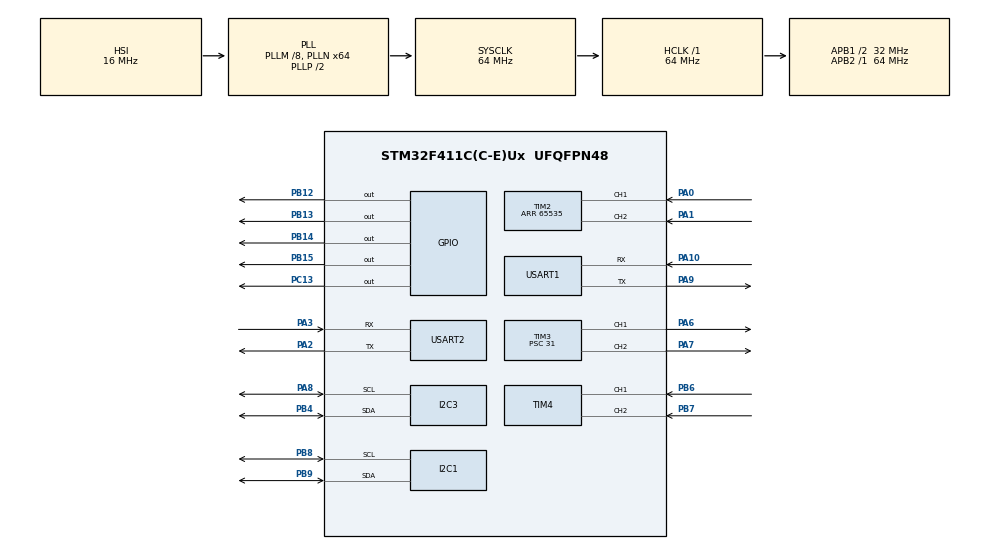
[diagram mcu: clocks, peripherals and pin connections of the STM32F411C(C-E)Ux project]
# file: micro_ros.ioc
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Dma.Request0=USART2_RX
Dma.Request1=USART2_TX
Dma.USART2_RX.0.Direction=DMA_PERIPH_TO_MEMORY
Dma.USART2_RX.0.FIFOMode=DMA_FIFOMODE_DISABLE
Dma.USART2_RX.0.Instance=DMA1_Stream5
Dma.USART2_RX.0.MemDataAlignment=DMA_MDATAALIGN_BYTE
Dma.USART2_RX.0.MemInc=DMA_MINC_ENABLE
Dma.USART2_RX.0.Mode=DMA_CIRCULAR
Dma.USART2_RX.0.PeriphDataAlignment=DMA_PDATAALIGN_BYTE
Dma.USART2_RX.0.PeriphInc=DMA_PINC_DISABLE
Dma.USART2_RX.0.Priority=DMA_PRIORITY_VERY_HIGH
Dma.USART2_TX.1.Direction=DMA_MEMORY_TO_PERIPH
Dma.USART2_TX.1.FIFOMode=DMA_FIFOMODE_DISABLE
Dma.USART2_TX.1.Instance=DMA1_Stream6
Dma.USART2_TX.1.MemDataAlignment=DMA_MDATAALIGN_BYTE
Dma.USART2_TX.1.MemInc=DMA_MINC_ENABLE
Dma.USART2_TX.1.Mode=DMA_NORMAL
Dma.USART2_TX.1.PeriphDataAlignment=DMA_PDATAALIGN_BYTE
Dma.USART2_TX.1.PeriphInc=DMA_PINC_DISABLE
Dma.USART2_TX.1.Priority=DMA_PRIORITY_VERY_HIGH
FREERTOS.Tasks01=myTask1,32,3000,Task_pub_sub,Default,NULL,Dynamic,NULL,NULL;myTask02,26,128,Task_IMU,Default,NULL,Dynamic,NULL,NULL;myTask03,26,128,Task_control,Default,NULL,Dynamic,NULL,NULL
FREERTOS.configUSE_NEWLIB_REENTRANT=1
Mcu.Family=STM32F4
Mcu.Name=STM32F411C(C-E)Ux
Mcu.Package=UFQFPN48
NVIC.DMA1_Stream5_IRQn=true\:5\:0\:false\:false\:true\:true\:false\:true\:true
NVIC.DMA1_Stream6_IRQn=true\:5\:0\:false\:false\:true\:true\:false\:true\:true
NVIC.PriorityGroup=NVIC_PRIORITYGROUP_4
NVIC.TIM1_UP_TIM10_IRQn=true\:5\:0\:false\:false\:true\:true\:true\:true\:true
NVIC.TIM2_IRQn=true\:5\:0\:false\:false\:true\:true\:true\:true\:true
NVIC.TIM4_IRQn=true\:5\:0\:false\:false\:true\:true\:true\:true\:true
NVIC.USART2_IRQn=true\:5\:0\:false\:false\:true\:true\:true\:true\:true
PA0-WKUP.Signal=S_TIM2_CH1_ETR
PA1.Signal=S_TIM2_CH2
PA10.Mode=Asynchronous
PA10.Signal=USART1_RX
PA13.Mode=Serial_Wire
PA13.Signal=SYS_JTMS-SWDIO
PA14.Mode=Serial_Wire
PA14.Signal=SYS_JTCK-SWCLK
PA2.Mode=Asynchronous
PA2.Signal=USART2_TX
PA3.Mode=Asynchronous
PA3.Signal=USART2_RX
PA6.Signal=S_TIM3_CH1
PA7.Signal=S_TIM3_CH2
PA8.Mode=I2C
PA8.Signal=I2C3_SCL
PA9.Mode=Asynchronous
PA9.Signal=USART1_TX
PB12.Signal=GPIO_Output
PB13.Signal=GPIO_Output
PB14.Signal=GPIO_Output
PB15.Signal=GPIO_Output
PB4.Mode=I2C
PB4.Signal=I2C3_SDA
PB6.Signal=S_TIM4_CH1
PB7.Signal=S_TIM4_CH2
PB8.Mode=I2C
PB8.Signal=I2C1_SCL
PB9.Mode=I2C
PB9.Signal=I2C1_SDA
PC13-ANTI_TAMP.Signal=GPIO_Output
ProjectManager.HeapSize=0x200
ProjectManager.StackSize=0x400
ProjectManager.TargetToolchain=STM32CubeIDE
RCC.48MHZClocksFreq_Value=32000000
RCC.AHBFreq_Value=64000000
RCC.APB1CLKDivider=RCC_HCLK_DIV2
RCC.APB1Freq_Value=32000000
RCC.APB1TimFreq_Value=64000000
RCC.APB2Freq_Value=64000000
RCC.APB2TimFreq_Value=64000000
RCC.CortexFreq_Value=64000000
RCC.HCLKFreq_Value=64000000
RCC.HSE_VALUE=25000000
RCC.HSI_VALUE=16000000
RCC.LSE_VALUE=32768
RCC.PLLM=8
RCC.PLLN=64
RCC.SYSCLKFreq_VALUE=64000000
RCC.SYSCLKSource=RCC_SYSCLKSOURCE_PLLCLK
RCC.VCOOutputFreq_Value=128000000
SH.S_TIM2_CH1_ETR.0=TIM2_CH1,Encoder_Interface
SH.S_TIM2_CH2.0=TIM2_CH2,Encoder_Interface
SH.S_TIM3_CH1.0=TIM3_CH1,PWM Generation1 CH1
SH.S_TIM3_CH2.0=TIM3_CH2,PWM Generation2 CH2
SH.S_TIM4_CH1.0=TIM4_CH1,Encoder_Interface
SH.S_TIM4_CH2.0=TIM4_CH2,Encoder_Interface
TIM1.Period=9999
TIM1.Prescaler=63
TIM2.EncoderMode=TIM_ENCODERMODE_TI12
TIM2.Period=65535
TIM3.Channel-PWM\ Generation1\ CH1=TIM_CHANNEL_1
TIM3.Channel-PWM\ Generation2\ CH2=TIM_CHANNEL_2
TIM3.Period=999
TIM3.Prescaler=31
TIM4.EncoderMode=TIM_ENCODERMODE_TI12
USART1.VirtualMode=VM_ASYNC
USART2.VirtualMode=VM_ASYNC
VP_FREERTOS_VS_CMSIS_V2.Mode=CMSIS_V2
VP_TIM1_VS_ClockSourceINT.Mode=Internal
board=custom

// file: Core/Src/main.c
/* USER CODE BEGIN Header */
/**
  ******************************************************************************
  * @file           : main.c
  * @brief          : Main program body
  ******************************************************************************
  * @attention
  *
  * Copyright (c) 2025 STMicroelectronics.
  * All rights reserved.
  *
  * This software is licensed under terms that can be found in the LICENSE file
  * in the root directory of this software component.
  * If no LICENSE file comes with this software, it is provided AS-IS.
  *
  ******************************************************************************
  */
/* USER CODE END Header */
#include "main.h"
#include "cmsis_os.h"
#include "dma.h"
#include "i2c.h"
#include "tim.h"
#include "usart.h"
#include "gpio.h"

/* USER CODE BEGIN Includes */
#include <publish.h>
#include <Motor.h>
#include <mpu6050.h>
#include <pid.h>
#include <BME280.h>
/* USER CODE END Includes */

void SystemClock_Config(void);
void MX_FREERTOS_Init(void);
/* USER CODE BEGIN PFP */
void Sensor_Init(void);
/* USER CODE END PFP */

/* USER CODE BEGIN 0 */
Motor Left_motor;
Motor *pLeft = &Left_motor;
Motor Right_motor;
Motor *pRight = &Right_motor;
PID_TypeDef RPID;
PID_TypeDef LPID;
PID_TypeDef YPID;
/* USER CODE END 0 */

int main(void)
{

  /* MCU Configuration--------------------------------------------------------*/

  /* Reset of all peripherals, Initializes the Flash interface and the Systick. */
		HAL_Init();

  /* Configure the system clock */
  SystemClock_Config();

  /* Initialize all configured peripherals */
  MX_GPIO_Init();
  MX_DMA_Init();
  MX_USART2_UART_Init();
  MX_TIM1_Init();
  MX_TIM2_Init();
  MX_TIM3_Init();
  MX_TIM4_Init();
  MX_USART1_UART_Init();
  MX_I2C1_Init();
  MX_I2C3_Init();
  /* USER CODE BEGIN 2 */
  //reset_I2C();
  Sensor_Init();
  //MPU6050_Init();
  //MPU6050_CalibGz(&MPU6050,1000);
  //MPU6050.Gz_bias = -0.275;
  HAL_TIM_Base_Start_IT(&htim1);
  HAL_TIM_Encoder_Start_IT(&htim2, TIM_CHANNEL_ALL); //LEFT
  HAL_TIM_Encoder_Start_IT(&htim4, TIM_CHANNEL_ALL); //RIGHT

	// --- PWM start ---
  HAL_TIM_PWM_Start(&htim3, TIM_CHANNEL_1);
  HAL_TIM_PWM_Start(&htim3, TIM_CHANNEL_2);
  HAL_NVIC_SetPriority(TIM1_UP_TIM10_IRQn, 0, 0);
  HAL_NVIC_EnableIRQ(TIM1_UP_TIM10_IRQn);

	// --- Base timer for control loop (interrupt) ---
    // Khoi tao 2 banh xe
    //10 1.2 0.03
  Motor_Init(&Left_motor, LEFT,GPIOB, GPIO_PIN_12, GPIOB, GPIO_PIN_13,&htim3, TIM_CHANNEL_1, &htim2, 75, 3, 0.05);
  Motor_Init(&Right_motor,RIGHT,GPIOB, GPIO_PIN_14, GPIOB, GPIO_PIN_15,&htim3, TIM_CHANNEL_2, &htim4	, 80, 3, 0); // 80 3 0

   // Khoi tao PID
  PID(&LPID, &(pLeft->cur_speed),&(pLeft->Pid_output),&(pLeft->target_speed),pLeft->kp, pLeft->ki, pLeft->kd,_PID_P_ON_E, _PID_CD_DIRECT);
  PID_SetMode(&LPID, _PID_MODE_AUTOMATIC);
  PID_SetSampleTime(&LPID, 10);
  PID_SetOutputLimits(&LPID, -999, 999);

  PID(&RPID,&(pRight->cur_speed),&(pRight->Pid_output), &(pRight->target_speed),pRight->kp, pRight->ki, pRight->kd,_PID_P_ON_E, _PID_CD_DIRECT);
  PID_SetMode(&RPID, _PID_MODE_AUTOMATIC);
  PID_SetSampleTime(&RPID, 10);
  PID_SetOutputLimits(&RPID, -999, 999);

  /* USER CODE END 2 */

  /* Init scheduler */
  osKernelInitialize();  /* Call init function for freertos objects (in cmsis_os2.c) */
  MX_FREERTOS_Init();

  /* Start scheduler */
  osKernelStart();

  /* We should never get here as control is now taken by the scheduler */

  /* Infinite loop */
  while (1)
  {

  }
}

void Sensor_Init(void)
{

  //Init structure definition section
	BME280_Init_t BME280_InitStruct = {0};
	Reset_BME280();

	/*============================ *BME280 Initialization* ============================*/

	BME280_InitStruct.Filter = FILTER_8;     				//FILTER_X
	BME280_InitStruct.Mode = BME280_NORMAL_MODE;		 	//SLEEP, NORMAL or FORCE can be written
	BME280_InitStruct.OverSampling_H = OVERSAMPLING_16;		//OVERSAMPLING_X
	BME280_InitStruct.OverSampling_P = OVERSAMPLING_16;		//OVERSAMPLING_X
	BME280_InitStruct.OverSampling_T = OVERSAMPLING_16;		//OVERSAMPLING_X
	BME280_InitStruct.SPI_EnOrDis = SPI3_W_DISABLE;			//SPI3_W_DISABLE or SPI3_W_ENABLE can be written
	BME280_InitStruct.T_StandBy = T_SB_250;					//T_SB_X
	BME280Init(BME280_InitStruct);
	Calibdata_BME280();
}

void SystemClock_Config(void)
{
  RCC_OscInitTypeDef RCC_OscInitStruct = {0};
  RCC_ClkInitTypeDef RCC_ClkInitStruct = {0};

  /** Configure the main internal regulator output voltage
  */
  __HAL_RCC_PWR_CLK_ENABLE();
  __HAL_PWR_VOLTAGESCALING_CONFIG(PWR_REGULATOR_VOLTAGE_SCALE1);

  /** Initializes the RCC Oscillators according to the specified parameters
  * in the RCC_OscInitTypeDef structure.
  */
  RCC_OscInitStruct.OscillatorType = RCC_OSCILLATORTYPE_HSI;
  RCC_OscInitStruct.HSIState = RCC_HSI_ON;
  RCC_OscInitStruct.HSICalibrationValue = RCC_HSICALIBRATION_DEFAULT;
  RCC_OscInitStruct.PLL.PLLState = RCC_PLL_ON;
  RCC_OscInitStruct.PLL.PLLSource = RCC_PLLSOURCE_HSI;
  RCC_OscInitStruct.PLL.PLLM = 8;
  RCC_OscInitStruct.PLL.PLLN = 64;
  RCC_OscInitStruct.PLL.PLLP = RCC_PLLP_DIV2;
  RCC_OscInitStruct.PLL.PLLQ = 4;
  if (HAL_RCC_OscConfig(&RCC_OscInitStruct) != HAL_OK)
  {
    Error_Handler();
  }

  /** Initializes the CPU, AHB and APB buses clocks
  */
  RCC_ClkInitStruct.ClockType = RCC_CLOCKTYPE_HCLK|RCC_CLOCKTYPE_SYSCLK
                              |RCC_CLOCKTYPE_PCLK1|RCC_CLOCKTYPE_PCLK2;
  RCC_ClkInitStruct.SYSCLKSource = RCC_SYSCLKSOURCE_PLLCLK;
  RCC_ClkInitStruct.AHBCLKDivider = RCC_SYSCLK_DIV1;
  RCC_ClkInitStruct.APB1CLKDivider = RCC_HCLK_DIV2;
  RCC_ClkInitStruct.APB2CLKDivider = RCC_HCLK_DIV1;

  if (HAL_RCC_ClockConfig(&RCC_ClkInitStruct, FLASH_LATENCY_3) != HAL_OK)
  {
    Error_Handler();
  }
}

void Error_Handler(void)
{
  __disable_irq();
  while (1)
  {
  }
}

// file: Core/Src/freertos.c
/* USER CODE BEGIN Header */
/**
  ******************************************************************************
  * File Name          : freertos.c
  * Description        : Code for freertos applications
  ******************************************************************************
  * @attention
  *
  * Copyright (c) 2025 STMicroelectronics.
  * All rights reserved.
  *
  * This software is licensed under terms that can be found in the LICENSE file
  * in the root directory of this software component.
  * If no LICENSE file comes with this software, it is provided AS-IS.
  *
  ******************************************************************************
  */
/* USER CODE END Header */

#include "FreeRTOS.h"
#include "task.h"
#include "main.h"
#include "cmsis_os.h"

/* USER CODE BEGIN Includes */
#include "publish.h"
#include "usart.h"
/* USER CODE END Includes */

/* USER CODE BEGIN PTD */
extern double bme_temp;
extern double bme_humi;
extern int cnt_bme;
extern BME280_Data_t BME280;
/* USER CODE END PTD */

/* USER CODE BEGIN PD */
osMutexId_t i2c3_mutex;
/* USER CODE END PD */

/* Definitions for myTask1 */
osThreadId_t myTask1Handle;
const osThreadAttr_t myTask1_attributes = {
  .name = "myTask1",
  .stack_size = 3000 * 4,
  .priority = (osPriority_t) osPriorityAboveNormal,
};
/* Definitions for myTask02 */
osThreadId_t myTask02Handle;
const osThreadAttr_t myTask02_attributes = {
  .name = "myTask02",
  .stack_size = 128 * 4,
  .priority = (osPriority_t) osPriorityNormal2,
};
/* Definitions for myTask03 */
osThreadId_t myTask03Handle;
const osThreadAttr_t myTask03_attributes = {
  .name = "myTask03",
  .stack_size = 128 * 4,
  .priority = (osPriority_t) osPriorityNormal2,
};
osThreadId_t Task_BMEHandle;
const osThreadAttr_t Task_BME_attributes = {
  .name = "Task_BME",
  .stack_size = 256 * 4,    // Tăng lên 256 để xử lý toán số thực an toàn
  .priority = (osPriority_t) osPriorityNormal,
};

void Task_pub_sub(void *argument);
void Task_IMU(void *argument);
void Task_control(void *argument);
void Task_BME(void *argument);
void MX_FREERTOS_Init(void); /* (MISRA C 2004 rule 8.1) */
extern PID_TypeDef YPID;
void MX_FREERTOS_Init(void) {
  /* USER CODE BEGIN Init */
	i2c3_mutex = osMutexNew(NULL);
  /* USER CODE END Init */

  /* Create the thread(s) */
  /* creation of myTask1 */
  myTask1Handle = osThreadNew(Task_pub_sub, NULL, &myTask1_attributes);

  /* creation of myTask02 */
//  myTask02Handle = osThreadNew(Task_IMU, NULL, &myTask02_attributes);

  /* creation of myTask03 */
  myTask03Handle = osThreadNew(Task_control, NULL, &myTask03_attributes);

  Task_BMEHandle = osThreadNew(Task_BME, NULL, &Task_BME_attributes);

}

void Task_pub_sub(void *argument)
{
  /* USER CODE BEGIN 5 */

	  // micro-ROS configuration

	  rmw_uros_set_custom_transport(
	    true,
	    (void *) &huart2,
	    cubemx_transport_open,
	    cubemx_transport_close,
	    cubemx_transport_write,
	    cubemx_transport_read);

	  rcl_allocator_t freeRTOS_allocator = rcutils_get_zero_initialized_allocator();
	  freeRTOS_allocator.allocate = microros_allocate;
	  freeRTOS_allocator.deallocate = microros_deallocate;
	  freeRTOS_allocator.reallocate = microros_reallocate;
	  freeRTOS_allocator.zero_allocate =  microros_zero_allocate;

	  if (!rcutils_set_default_allocator(&freeRTOS_allocator)) {
	      printf("Error on default allocators (line %d)\n", __LINE__);
	  }

	 // Initialize micro-ROS allocator
	 allocator = rcl_get_default_allocator();

	 // create init_options
	 rclc_support_init(&support, 0, NULL, &allocator);

	 //create node_sub
	 rclc_node_init_default(&node, "stm32_node","", &support);

	  // create publisher
	 rclc_publisher_init_default(
	    &odom_pub,
	    &node,
		ROSIDL_GET_MSG_TYPE_SUPPORT(nav_msgs, msg, Odometry),
	    "/odom_data");

	 rclc_publisher_init_default(
	 	    &temp_pub,
	 	    &node,
	 	    ROSIDL_GET_MSG_TYPE_SUPPORT(sensor_msgs, msg, Temperature),
	 	    "/bme280/temperature");

	 	rclc_publisher_init_default(
	 	    &humi_pub,
	 	    &node,
	 	    ROSIDL_GET_MSG_TYPE_SUPPORT(sensor_msgs, msg, RelativeHumidity),
	 	    "/bme280/humidity");

	//create subscriber
	rclc_subscription_init_default(
		&subscriber,
		&node,
		ROSIDL_GET_MSG_TYPE_SUPPORT(geometry_msgs, msg, Twist),
		"/cmd_vel");

	rclc_publisher_init_default(
	    &tf_pub,
	    &node,
	    ROSIDL_GET_MSG_TYPE_SUPPORT(tf2_msgs, msg, TFMessage),
	    "/tf");
	// create timer
	rcl_timer_t timer;
	const unsigned int timer_timeout = 50;
	RCCHECK(rclc_timer_init_default(
		&timer,
		&support,
		RCL_MS_TO_NS(timer_timeout),
		timer_callback));

	// create executor
	rclc_executor_t executor = rclc_executor_get_zero_initialized_executor();
	rclc_executor_init(&executor, &support.context, 4, &allocator);

	// add subscriber callback to the executor
	rclc_executor_add_subscription(&executor, &subscriber, &msg_cmd_vel, &cmd_vel_callback, ON_NEW_DATA);
	// add time for executor
	rclc_executor_add_timer(&executor, &timer);

    if (rmw_uros_sync_session(1) != RMW_RET_OK) {
        printf("Time sync failed\n");
    }
    // init data odom
    odom_msg.header.frame_id.data = "odom";
    odom_msg.child_frame_id.data  = "base_link";

    tf.header.frame_id.data = "odom";
    tf.child_frame_id.data = "base_link";
    int counter = 0;
	while(1) {
		cnt_pub++;
		rclc_executor_spin_some(&executor, RCL_MS_TO_NS(10));
		if (++counter % 100 == 0) {
		    rmw_uros_sync_session(100);
		}
		rclc_executor_spin_some(&executor, RCL_MS_TO_NS(10));
		vTaskDelay(pdMS_TO_TICKS(1));
	}
  /* USER CODE END 5 */
}

void Task_IMU(void *argument)
{
  /* USER CODE BEGIN Task_IMU */
  /* Infinite loop */
  while(1) {
	  MPU6050_Read_All(&MPU6050);
	  cnt_imu++;
	  vTaskDelay(pdMS_TO_TICKS(1));
  }
  /* USER CODE END Task_IMU */
}
/* USER CODE BEGIN Header_Task_control */

void HAL_TIM_PeriodElapsedCallback(TIM_HandleTypeDef *htim)
{
  if (htim->Instance == TIM1) {
      Motor_GetSpeed(&Left_motor);
      vl_cur = Left_motor.cur_speed;
	  PID_Compute(&LPID);
	  Motor_GetSpeed(&Right_motor);
	  vr_cur = Right_motor.cur_speed;
	  PID_Compute(&RPID);
      Motor_SetPwm(&Left_motor);
      Motor_SetPwm(&Right_motor);
   }
}
/* USER CODE END Task_control */
void Task_control(void *argument)
{

    while (1)
    {
    	cnt_control++;
        vl_cur_mps = vl_cur * ((2.0f * 3.1415926f * WHEEL_RADIUS_M)) / 60;   // rpm -> mps
        vr_cur_mps = vr_cur * ((2.0f * 3.1415926f * WHEEL_RADIUS_M)) / 60;   // rpm -> mps
        Drive_VW(&Left_motor, &Right_motor, v_mps, omega);
        vTaskDelay(pdMS_TO_TICKS(1));
    }
}

/* USER CODE BEGIN Application */
void Task_BME(void *argument) {
    for (;;) {
        osMutexAcquire(i2c3_mutex, osWaitForever);
        BME280Calculation(&BME280);

        if (BME280.Humidity == 0.0f || BME280.Temperature == 0.0f) {
            HAL_I2C_DeInit(&hi2c3);
            osMutexRelease(i2c3_mutex);
            osDelay(10);
            osMutexAcquire(i2c3_mutex, osWaitForever);
            MX_I2C3_Init();
            Calibdata_BME280();
        }

        osMutexRelease(i2c3_mutex);

        bme_temp = (double)BME280.Temperature;
        bme_humi = (double)BME280.Humidity;
        cnt_bme++;

        osDelay(1000);
    }
}

/* USER CODE END Application */
